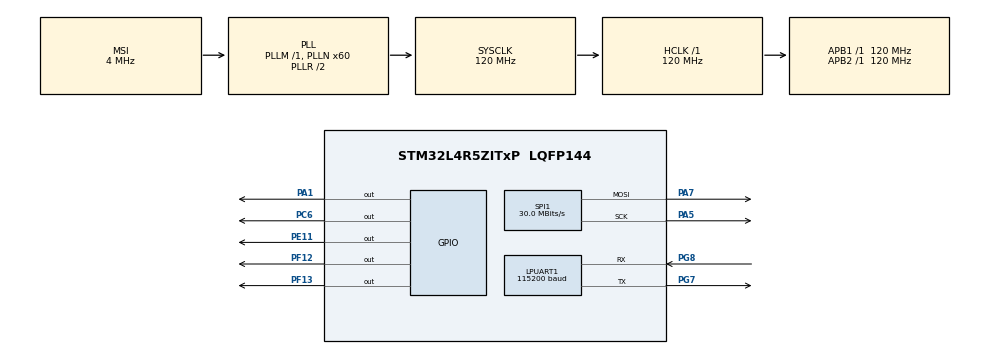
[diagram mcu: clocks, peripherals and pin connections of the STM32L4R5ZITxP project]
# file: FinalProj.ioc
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LPUART1.BaudRate=115200
LPUART1.WordLength=UART_WORDLENGTH_8B
Mcu.Family=STM32L4
Mcu.Name=STM32L4R5ZITxP
Mcu.Package=LQFP144
NVIC.PriorityGroup=NVIC_PRIORITYGROUP_4
PA0.Signal=S_TIM2_CH1
PA1.Signal=GPIO_Output
PA10.Signal=USB_OTG_FS_ID
PA13\ (JTMS/SWDIO).Signal=SYS_JTMS-SWDIO
PA14\ (JTCK/SWCLK).Signal=SYS_JTCK-SWCLK
PA3.Signal=ADCx_IN8
PA4.Signal=SPI1_NSS
PA5.Mode=TX_Only_Simplex_Unidirect_Master
PA5.Signal=SPI1_SCK
PA6.Signal=SPI1_MISO
PA7.Mode=TX_Only_Simplex_Unidirect_Master
PA7.Signal=SPI1_MOSI
PA8.Signal=USB_OTG_FS_SOF
PA9.Signal=USB_OTG_FS_VBUS
PB0.Signal=S_TIM3_CH3
PB1.Signal=ADCx_IN16
PB10.Signal=S_TIM2_CH3
PB12.Signal=SAI2_FS_A
PB13.Signal=SAI2_SCK_A
PB15.Signal=SAI2_SD_A
PB2.Signal=COMP1_INP
PB3\ (JTDO/TRACESWO).Signal=SPI3_SCK
PB4\ (NJTRST).Signal=SPI3_MISO
PB5.Signal=SPI3_MOSI
PB6.Signal=COMP2_INP
PB8.Signal=I2C1_SCL
PB9.Signal=I2C1_SDA
PC0.Signal=ADCx_IN1
PC1.Signal=ADCx_IN2
PC10.Signal=SDMMC1_D2
PC11.Signal=SDMMC1_D3
PC12.Signal=SDMMC1_CK
PC13.Signal=SYS_WKUP2
PC14-OSC32_IN\ (PC14).Signal=RCC_OSC32_IN
PC15-OSC32_OUT\ (PC15).Signal=RCC_OSC32_OUT
PC2.Signal=ADCx_IN3
PC3.Signal=ADCx_IN4
PC4.Signal=ADCx_IN13
PC5.Signal=ADCx_IN14
PC6.GPIO_ModeDefaultOutputPP=GPIO_MODE_OUTPUT_OD
PC6.GPIO_PuPd=GPIO_PULLUP
PC6.GPIO_Speed=GPIO_SPEED_FREQ_MEDIUM
PC6.Signal=GPIO_Output
PC8.Signal=SDMMC1_D0
PC9.Signal=SDMMC1_D1
PD0.Signal=CAN1_RX
PD14.Signal=S_TIM4_CH3
PD15.Signal=S_TIM4_CH4
PD2.Signal=SDMMC1_CMD
PD3.Signal=USART2_CTS
PD4.Signal=USART2_RTS
PD5.Signal=USART2_TX
PD6.Signal=USART2_RX
PD8.Signal=USART3_TX
PD9.Signal=USART3_RX
PE0.Signal=S_TIM4_ETR
PE10.Signal=TIM1_CH2N
PE11.Signal=GPIO_Output
PE12.Signal=TIM1_CH3N
PE13.Signal=S_TIM1_CH3
PE14.Signal=TIM1_BKIN2
PE15.Signal=TIM1_BKIN
PE2.Signal=SAI1_MCLK_A
PE3.Signal=SAI1_SD_B
PE7.Signal=S_TIM1_ETR
PE8.Signal=TIM1_CH1N
PE9.Signal=S_TIM1_CH1
PF0.Signal=I2C2_SDA
PF1.Signal=I2C2_SCL
PF12.Signal=GPIO_Output
PF13.Signal=GPIO_Output
PF2.Signal=I2C2_SMBA
PF7.Signal=SAI1_MCLK_B
PG7.Mode=Asynchronous
PG7.Signal=LPUART1_TX
PG8.Mode=Asynchronous
PG8.Signal=LPUART1_RX
PH0-OSC_IN\ (PH0).Signal=RCC_OSC_IN
PH1-OSC_OUT\ (PH1).Signal=RCC_OSC_OUT
ProjectManager.HeapSize=0x200
ProjectManager.StackSize=0x400
ProjectManager.TargetToolchain=STM32CubeIDE
RCC.AHBFreq_Value=120000000
RCC.APB1Freq_Value=120000000
RCC.APB1TimFreq_Value=120000000
RCC.APB2Freq_Value=120000000
RCC.APB2TimFreq_Value=120000000
RCC.CortexFreq_Value=120000000
RCC.HCLKFreq_Value=120000000
RCC.HSE_VALUE=8000000
RCC.HSI48_VALUE=48000000
RCC.HSI_VALUE=16000000
RCC.LSE_VALUE=32768
RCC.MSI_VALUE=4000000
RCC.PLLN=60
RCC.SYSCLKFreq_VALUE=120000000
RCC.SYSCLKSource=RCC_SYSCLKSOURCE_PLLCLK
RCC.VCOOutputFreq_Value=240000000
SH.ADCx_IN1.0=ADC1_IN1
SH.ADCx_IN13.0=ADC1_IN13
SH.ADCx_IN14.0=ADC1_IN14
SH.ADCx_IN16.0=ADC1_IN16
SH.ADCx_IN2.0=ADC1_IN2
SH.ADCx_IN3.0=ADC1_IN3
SH.ADCx_IN4.0=ADC1_IN4
SH.ADCx_IN8.0=ADC1_IN8
SH.S_TIM1_CH1.0=TIM1_CH1
SH.S_TIM1_CH3.0=TIM1_CH3
SH.S_TIM1_ETR.0=TIM1_ETR
SH.S_TIM2_CH1.0=TIM2_CH1
SH.S_TIM2_CH3.0=TIM2_CH3
SH.S_TIM3_CH3.0=TIM3_CH3
SH.S_TIM4_CH3.0=TIM4_CH3
SH.S_TIM4_CH4.0=TIM4_CH4
SH.S_TIM4_ETR.0=TIM4_ETR
SPI1.BaudRatePrescaler=SPI_BAUDRATEPRESCALER_4
SPI1.CalculateBaudRate=30.0 MBits/s
SPI1.DataSize=SPI_DATASIZE_8BIT
SPI1.Direction=SPI_DIRECTION_2LINES
SPI1.Mode=SPI_MODE_MASTER
SPI1.VirtualType=VM_MASTER
TIM4.Period=0xffff-1
TIM4.Prescaler=19
VP_TIM4_VS_ClockSourceINT.Mode=Internal
board=NUCLEO-L4R5ZI-P

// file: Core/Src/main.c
/* USER CODE BEGIN Header */
/**
  ******************************************************************************
  * @file           : main.c
  * @brief          : Main program body
  ******************************************************************************
  * @attention
  *
  * Copyright (c) 2022 STMicroelectronics.
  * All rights reserved.
  *
  * This software is licensed under terms that can be found in the LICENSE file
  * in the root directory of this software component.
  * If no LICENSE file comes with this software, it is provided AS-IS.
  *
  ******************************************************************************
  */
/* USER CODE END Header */
#include "main.h"

/* USER CODE BEGIN Includes */
#include "hx8357d.h"
#include "n64.h"
#include "stdio.h"
/* USER CODE END Includes */

 UART_HandleTypeDef hlpuart1;

SPI_HandleTypeDef hspi1;

TIM_HandleTypeDef htim4;

/* USER CODE BEGIN PV */
//Chip Select pin
GPIO_TypeDef  *tftCS_GPIO = GPIOE;
uint16_t tftCS_PIN = GPIO_PIN_11;
//Data Command pin
GPIO_TypeDef  *tftDC_GPIO = GPIOF;
uint16_t tftDC_PIN = GPIO_PIN_12;
//Reset pin
GPIO_TypeDef  *tftRESET_GPIO = GPIOF;
uint16_t tftRESET_PIN = GPIO_PIN_13;

/* USER CODE END PV */

void SystemClock_Config(void);
static void MX_GPIO_Init(void);
static void MX_SPI1_Init(void);
static void MX_TIM4_Init(void);
static void MX_LPUART1_UART_Init(void);

int main(void)
{

  /* MCU Configuration--------------------------------------------------------*/

  /* Reset of all peripherals, Initializes the Flash interface and the Systick. */
  HAL_Init();

  /* Configure the system clock */
  SystemClock_Config();

  /* Initialize all configured peripherals */
  MX_GPIO_Init();
  MX_SPI1_Init();
  MX_TIM4_Init();
  MX_LPUART1_UART_Init();
  /* USER CODE BEGIN 2 */

  LCD_init(&hspi1, tftCS_GPIO, tftCS_PIN, tftDC_GPIO, tftDC_PIN, tftRESET_GPIO, tftRESET_PIN);
  N64_init(&htim4);
  //printf("Initing...\n\r"); //printf this gives error
  //HAL_Delay(200);
  LCD_fill(HX8357_WHITE);
  //LCD_rect(50, 250, 190, 300, HX8357_BLACK); //TODO bug! trailing pixels missing by amount of dy
  /* USER CODE END 2 */

  /* Infinite loop */
  /* USER CODE BEGIN WHILE */
  uint32_t vals = 0;
  printf("Starting...\n\r");
  while (1)
  {

	  vals = pollRead();
	  //int buttonval = vals >> 31;
	  signed char xval = (vals >> 8) & 0xff; //both were signed
	  signed char yval = vals & 0xff;
	  printf("X: %d,Y: %d\n\r", xval, yval);

	  uint16_t XCenter = xval + (HX8357_TFTWIDTH/2);
	  uint16_t YCenter = -yval + (HX8357_TFTHEIGHT/2);
	  uint16_t rectRadius = 2;
	  LCD_rect(XCenter - rectRadius, YCenter - rectRadius, XCenter + rectRadius, YCenter + rectRadius, HX8357_BLACK);
	  /*if(yval >50 && xval > 50) {
		  HAL_GPIO_WritePin(GPIOB, GPIO_PIN_14, 1);
	  }
	  else if(yval < -50 && xval > 50) {
		  //fourth quadrant
		  HAL_GPIO_WritePin(GPIOC, GPIO_PIN_7, 1);

	  }
	  else if(yval > 50 && xval < -50) {
		  //second quadrant
		  HAL_GPIO_WritePin(GPIOB, GPIO_PIN_7, 1);

	  }
	  else if(yval < -50 && xval < -50) {
		  //third quadrant
		  HAL_GPIO_WritePin(GPIOC, GPIO_PIN_7, 1);
		  HAL_GPIO_WritePin(GPIOB, GPIO_PIN_7, 1);
		  HAL_GPIO_WritePin(GPIOB, GPIO_PIN_14, 1);
	  }

	  HAL_Delay(10);
	  HAL_GPIO_WritePin(GPIOC, GPIO_PIN_7, 0);
	  HAL_GPIO_WritePin(GPIOB, GPIO_PIN_7, 0);
	  HAL_GPIO_WritePin(GPIOB, GPIO_PIN_14, 0);*/
	  HAL_Delay(50);

    /* USER CODE END WHILE */

  }
}

void SystemClock_Config(void)
{
  RCC_OscInitTypeDef RCC_OscInitStruct = {0};
  RCC_ClkInitTypeDef RCC_ClkInitStruct = {0};

  /** Configure the main internal regulator output voltage
  */
  if (HAL_PWREx_ControlVoltageScaling(PWR_REGULATOR_VOLTAGE_SCALE1_BOOST) != HAL_OK)
  {
    Error_Handler();
  }

  /** Initializes the RCC Oscillators according to the specified parameters
  * in the RCC_OscInitTypeDef structure.
  */
  RCC_OscInitStruct.OscillatorType = RCC_OSCILLATORTYPE_MSI;
  RCC_OscInitStruct.MSIState = RCC_MSI_ON;
  RCC_OscInitStruct.MSICalibrationValue = 0;
  RCC_OscInitStruct.MSIClockRange = RCC_MSIRANGE_6;
  RCC_OscInitStruct.PLL.PLLState = RCC_PLL_ON;
  RCC_OscInitStruct.PLL.PLLSource = RCC_PLLSOURCE_MSI;
  RCC_OscInitStruct.PLL.PLLM = 1;
  RCC_OscInitStruct.PLL.PLLN = 60;
  RCC_OscInitStruct.PLL.PLLP = RCC_PLLP_DIV2;
  RCC_OscInitStruct.PLL.PLLQ = RCC_PLLQ_DIV2;
  RCC_OscInitStruct.PLL.PLLR = RCC_PLLR_DIV2;
  if (HAL_RCC_OscConfig(&RCC_OscInitStruct) != HAL_OK)
  {
    Error_Handler();
  }

  /** Initializes the CPU, AHB and APB buses clocks
  */
  RCC_ClkInitStruct.ClockType = RCC_CLOCKTYPE_HCLK|RCC_CLOCKTYPE_SYSCLK
                              |RCC_CLOCKTYPE_PCLK1|RCC_CLOCKTYPE_PCLK2;
  RCC_ClkInitStruct.SYSCLKSource = RCC_SYSCLKSOURCE_PLLCLK;
  RCC_ClkInitStruct.AHBCLKDivider = RCC_SYSCLK_DIV1;
  RCC_ClkInitStruct.APB1CLKDivider = RCC_HCLK_DIV1;
  RCC_ClkInitStruct.APB2CLKDivider = RCC_HCLK_DIV1;

  if (HAL_RCC_ClockConfig(&RCC_ClkInitStruct, FLASH_LATENCY_5) != HAL_OK)
  {
    Error_Handler();
  }
}

static void MX_LPUART1_UART_Init(void)
{

  hlpuart1.Instance = LPUART1;
  hlpuart1.Init.BaudRate = 115200;
  hlpuart1.Init.WordLength = UART_WORDLENGTH_8B;
  hlpuart1.Init.StopBits = UART_STOPBITS_1;
  hlpuart1.Init.Parity = UART_PARITY_NONE;
  hlpuart1.Init.Mode = UART_MODE_TX_RX;
  hlpuart1.Init.HwFlowCtl = UART_HWCONTROL_NONE;
  hlpuart1.Init.OneBitSampling = UART_ONE_BIT_SAMPLE_DISABLE;
  hlpuart1.Init.ClockPrescaler = UART_PRESCALER_DIV1;
  hlpuart1.AdvancedInit.AdvFeatureInit = UART_ADVFEATURE_NO_INIT;
  hlpuart1.FifoMode = UART_FIFOMODE_DISABLE;
  if (HAL_UART_Init(&hlpuart1) != HAL_OK)
  {
    Error_Handler();
  }
  if (HAL_UARTEx_SetTxFifoThreshold(&hlpuart1, UART_TXFIFO_THRESHOLD_1_8) != HAL_OK)
  {
    Error_Handler();
  }
  if (HAL_UARTEx_SetRxFifoThreshold(&hlpuart1, UART_RXFIFO_THRESHOLD_1_8) != HAL_OK)
  {
    Error_Handler();
  }
  if (HAL_UARTEx_DisableFifoMode(&hlpuart1) != HAL_OK)
  {
    Error_Handler();
  }

}

static void MX_SPI1_Init(void)
{

  /* SPI1 parameter configuration*/
  hspi1.Instance = SPI1;
  hspi1.Init.Mode = SPI_MODE_MASTER;
  hspi1.Init.Direction = SPI_DIRECTION_2LINES;
  hspi1.Init.DataSize = SPI_DATASIZE_8BIT;
  hspi1.Init.CLKPolarity = SPI_POLARITY_LOW;
  hspi1.Init.CLKPhase = SPI_PHASE_1EDGE;
  hspi1.Init.NSS = SPI_NSS_SOFT;
  hspi1.Init.BaudRatePrescaler = SPI_BAUDRATEPRESCALER_4;
  hspi1.Init.FirstBit = SPI_FIRSTBIT_MSB;
  hspi1.Init.TIMode = SPI_TIMODE_DISABLE;
  hspi1.Init.CRCCalculation = SPI_CRCCALCULATION_DISABLE;
  hspi1.Init.CRCPolynomial = 7;
  hspi1.Init.CRCLength = SPI_CRC_LENGTH_DATASIZE;
  hspi1.Init.NSSPMode = SPI_NSS_PULSE_ENABLE;
  if (HAL_SPI_Init(&hspi1) != HAL_OK)
  {
    Error_Handler();
  }

}

static void MX_TIM4_Init(void)
{

  TIM_ClockConfigTypeDef sClockSourceConfig = {0};
  TIM_MasterConfigTypeDef sMasterConfig = {0};

  htim4.Instance = TIM4;
  htim4.Init.Prescaler = 19;
  htim4.Init.CounterMode = TIM_COUNTERMODE_UP;
  htim4.Init.Period = 0xffff-1;
  htim4.Init.ClockDivision = TIM_CLOCKDIVISION_DIV1;
  htim4.Init.AutoReloadPreload = TIM_AUTORELOAD_PRELOAD_DISABLE;
  if (HAL_TIM_Base_Init(&htim4) != HAL_OK)
  {
    Error_Handler();
  }
  sClockSourceConfig.ClockSource = TIM_CLOCKSOURCE_INTERNAL;
  if (HAL_TIM_ConfigClockSource(&htim4, &sClockSourceConfig) != HAL_OK)
  {
    Error_Handler();
  }
  sMasterConfig.MasterOutputTrigger = TIM_TRGO_RESET;
  sMasterConfig.MasterSlaveMode = TIM_MASTERSLAVEMODE_DISABLE;
  if (HAL_TIMEx_MasterConfigSynchronization(&htim4, &sMasterConfig) != HAL_OK)
  {
    Error_Handler();
  }

}

static void MX_GPIO_Init(void)
{
  GPIO_InitTypeDef GPIO_InitStruct = {0};

  /* GPIO Ports Clock Enable */
  __HAL_RCC_GPIOE_CLK_ENABLE();
  __HAL_RCC_GPIOC_CLK_ENABLE();
  __HAL_RCC_GPIOF_CLK_ENABLE();
  __HAL_RCC_GPIOH_CLK_ENABLE();
  __HAL_RCC_GPIOA_CLK_ENABLE();
  __HAL_RCC_GPIOB_CLK_ENABLE();
  __HAL_RCC_GPIOD_CLK_ENABLE();
  __HAL_RCC_GPIOG_CLK_ENABLE();
  HAL_PWREx_EnableVddIO2();

  /*Configure GPIO pin Output Level */
  HAL_GPIO_WritePin(GPIOA, GPIO_PIN_1, GPIO_PIN_RESET);

  /*Configure GPIO pin Output Level */
  HAL_GPIO_WritePin(GPIOF, GPIO_PIN_12|GPIO_PIN_13, GPIO_PIN_RESET);

  /*Configure GPIO pin Output Level */
  HAL_GPIO_WritePin(GPIOE, GPIO_PIN_11, GPIO_PIN_RESET);

  /*Configure GPIO pin Output Level */
  HAL_GPIO_WritePin(GPIOC, GPIO_PIN_6, GPIO_PIN_RESET);

  /*Configure GPIO pins : PE2 PE3 */
  GPIO_InitStruct.Pin = GPIO_PIN_2|GPIO_PIN_3;
  GPIO_InitStruct.Mode = GPIO_MODE_AF_PP;
  GPIO_InitStruct.Pull = GPIO_NOPULL;
  GPIO_InitStruct.Speed = GPIO_SPEED_FREQ_LOW;
  GPIO_InitStruct.Alternate = GPIO_AF13_SAI1;
  HAL_GPIO_Init(GPIOE, &GPIO_InitStruct);

  /*Configure GPIO pins : PF0 PF1 PF2 */
  GPIO_InitStruct.Pin = GPIO_PIN_0|GPIO_PIN_1|GPIO_PIN_2;
  GPIO_InitStruct.Mode = GPIO_MODE_AF_OD;
  GPIO_InitStruct.Pull = GPIO_NOPULL;
  GPIO_InitStruct.Speed = GPIO_SPEED_FREQ_VERY_HIGH;
  GPIO_InitStruct.Alternate = GPIO_AF4_I2C2;
  HAL_GPIO_Init(GPIOF, &GPIO_InitStruct);

  /*Configure GPIO pin : PF7 */
  GPIO_InitStruct.Pin = GPIO_PIN_7;
  GPIO_InitStruct.Mode = GPIO_MODE_AF_PP;
  GPIO_InitStruct.Pull = GPIO_NOPULL;
  GPIO_InitStruct.Speed = GPIO_SPEED_FREQ_LOW;
  GPIO_InitStruct.Alternate = GPIO_AF13_SAI1;
  HAL_GPIO_Init(GPIOF, &GPIO_InitStruct);

  /*Configure GPIO pins : PC0 PC1 PC2 PC3
                           PC4 PC5 */
  GPIO_InitStruct.Pin = GPIO_PIN_0|GPIO_PIN_1|GPIO_PIN_2|GPIO_PIN_3
                          |GPIO_PIN_4|GPIO_PIN_5;
  GPIO_InitStruct.Mode = GPIO_MODE_ANALOG_ADC_CONTROL;
  GPIO_InitStruct.Pull = GPIO_NOPULL;
  HAL_GPIO_Init(GPIOC, &GPIO_InitStruct);

  /*Configure GPIO pin : PA0 */
  GPIO_InitStruct.Pin = GPIO_PIN_0;
  GPIO_InitStruct.Mode = GPIO_MODE_AF_PP;
  GPIO_InitStruct.Pull = GPIO_NOPULL;
  GPIO_InitStruct.Speed = GPIO_SPEED_FREQ_LOW;
  GPIO_InitStruct.Alternate = GPIO_AF1_TIM2;
  HAL_GPIO_Init(GPIOA, &GPIO_InitStruct);

  /*Configure GPIO pin : PA1 */
  GPIO_InitStruct.Pin = GPIO_PIN_1;
  GPIO_InitStruct.Mode = GPIO_MODE_OUTPUT_PP;
  GPIO_InitStruct.Pull = GPIO_NOPULL;
  GPIO_InitStruct.Speed = GPIO_SPEED_FREQ_LOW;
  HAL_GPIO_Init(GPIOA, &GPIO_InitStruct);

  /*Configure GPIO pin : PA3 */
  GPIO_InitStruct.Pin = GPIO_PIN_3;
  GPIO_InitStruct.Mode = GPIO_MODE_ANALOG_ADC_CONTROL;
  GPIO_InitStruct.Pull = GPIO_NOPULL;
  HAL_GPIO_Init(GPIOA, &GPIO_InitStruct);

  /*Configure GPIO pin : PB0 */
  GPIO_InitStruct.Pin = GPIO_PIN_0;
  GPIO_InitStruct.Mode = GPIO_MODE_AF_PP;
  GPIO_InitStruct.Pull = GPIO_NOPULL;
  GPIO_InitStruct.Speed = GPIO_SPEED_FREQ_LOW;
  GPIO_InitStruct.Alternate = GPIO_AF2_TIM3;
  HAL_GPIO_Init(GPIOB, &GPIO_InitStruct);

  /*Configure GPIO pin : PB1 */
  GPIO_InitStruct.Pin = GPIO_PIN_1;
  GPIO_InitStruct.Mode = GPIO_MODE_ANALOG_ADC_CONTROL;
  GPIO_InitStruct.Pull = GPIO_NOPULL;
  HAL_GPIO_Init(GPIOB, &GPIO_InitStruct);

  /*Configure GPIO pins : PB2 PB6 */
  GPIO_InitStruct.Pin = GPIO_PIN_2|GPIO_PIN_6;
  GPIO_InitStruct.Mode = GPIO_MODE_ANALOG;
  GPIO_InitStruct.Pull = GPIO_NOPULL;
  HAL_GPIO_Init(GPIOB, &GPIO_InitStruct);

  /*Configure GPIO pins : PF12 PF13 */
  GPIO_InitStruct.Pin = GPIO_PIN_12|GPIO_PIN_13;
  GPIO_InitStruct.Mode = GPIO_MODE_OUTPUT_PP;
  GPIO_InitStruct.Pull = GPIO_NOPULL;
  GPIO_InitStruct.Speed = GPIO_SPEED_FREQ_LOW;
  HAL_GPIO_Init(GPIOF, &GPIO_InitStruct);

  /*Configure GPIO pins : PE7 PE8 PE9 PE10
                           PE12 PE13 */
  GPIO_InitStruct.Pin = GPIO_PIN_7|GPIO_PIN_8|GPIO_PIN_9|GPIO_PIN_10
                          |GPIO_PIN_12|GPIO_PIN_13;
  GPIO_InitStruct.Mode = GPIO_MODE_AF_PP;
  GPIO_InitStruct.Pull = GPIO_NOPULL;
  GPIO_InitStruct.Speed = GPIO_SPEED_FREQ_LOW;
  GPIO_InitStruct.Alternate = GPIO_AF1_TIM1;
  HAL_GPIO_Init(GPIOE, &GPIO_InitStruct);

  /*Configure GPIO pin : PE11 */
  GPIO_InitStruct.Pin = GPIO_PIN_11;
  GPIO_InitStruct.Mode = GPIO_MODE_OUTPUT_PP;
  GPIO_InitStruct.Pull = GPIO_NOPULL;
  GPIO_InitStruct.Speed = GPIO_SPEED_FREQ_LOW;
  HAL_GPIO_Init(GPIOE, &GPIO_InitStruct);

  /*Configure GPIO pins : PE14 PE15 */
  GPIO_InitStruct.Pin = GPIO_PIN_14|GPIO_PIN_15;
  GPIO_InitStruct.Mode = GPIO_MODE_AF_PP;
  GPIO_InitStruct.Pull = GPIO_NOPULL;
  GPIO_InitStruct.Speed = GPIO_SPEED_FREQ_LOW;
  GPIO_InitStruct.Alternate = GPIO_AF3_TIM1_COMP1;
  HAL_GPIO_Init(GPIOE, &GPIO_InitStruct);

  /*Configure GPIO pin : PB10 */
  GPIO_InitStruct.Pin = GPIO_PIN_10;
  GPIO_InitStruct.Mode = GPIO_MODE_AF_PP;
  GPIO_InitStruct.Pull = GPIO_NOPULL;
  GPIO_InitStruct.Speed = GPIO_SPEED_FREQ_LOW;
  GPIO_InitStruct.Alternate = GPIO_AF1_TIM2;
  HAL_GPIO_Init(GPIOB, &GPIO_InitStruct);

  /*Configure GPIO pins : PB12 PB13 PB15 */
  GPIO_InitStruct.Pin = GPIO_PIN_12|GPIO_PIN_13|GPIO_PIN_15;
  GPIO_InitStruct.Mode = GPIO_MODE_AF_PP;
  GPIO_InitStruct.Pull = GPIO_NOPULL;
  GPIO_InitStruct.Speed = GPIO_SPEED_FREQ_LOW;
  GPIO_InitStruct.Alternate = GPIO_AF13_SAI2;
  HAL_GPIO_Init(GPIOB, &GPIO_InitStruct);

  /*Configure GPIO pins : PD8 PD9 */
  GPIO_InitStruct.Pin = GPIO_PIN_8|GPIO_PIN_9;
  GPIO_InitStruct.Mode = GPIO_MODE_AF_PP;
  GPIO_InitStruct.Pull = GPIO_NOPULL;
  GPIO_InitStruct.Speed = GPIO_SPEED_FREQ_VERY_HIGH;
  GPIO_InitStruct.Alternate = GPIO_AF7_USART3;
  HAL_GPIO_Init(GPIOD, &GPIO_InitStruct);

  /*Configure GPIO pin : PC6 */
  GPIO_InitStruct.Pin = GPIO_PIN_6;
  GPIO_InitStruct.Mode = GPIO_MODE_OUTPUT_OD;
  GPIO_InitStruct.Pull = GPIO_PULLUP;
  GPIO_InitStruct.Speed = GPIO_SPEED_FREQ_MEDIUM;
  HAL_GPIO_Init(GPIOC, &GPIO_InitStruct);

  /*Configure GPIO pins : PC8 PC9 PC10 PC11
                           PC12 */
  GPIO_InitStruct.Pin = GPIO_PIN_8|GPIO_PIN_9|GPIO_PIN_10|GPIO_PIN_11
                          |GPIO_PIN_12;
  GPIO_InitStruct.Mode = GPIO_MODE_AF_PP;
  GPIO_InitStruct.Pull = GPIO_NOPULL;
  GPIO_InitStruct.Speed = GPIO_SPEED_FREQ_VERY_HIGH;
  GPIO_InitStruct.Alternate = GPIO_AF12_SDMMC1;
  HAL_GPIO_Init(GPIOC, &GPIO_InitStruct);

  /*Configure GPIO pins : PA8 PA10 */
  GPIO_InitStruct.Pin = GPIO_PIN_8|GPIO_PIN_10;
  GPIO_InitStruct.Mode = GPIO_MODE_AF_PP;
  GPIO_InitStruct.Pull = GPIO_NOPULL;
  GPIO_InitStruct.Speed = GPIO_SPEED_FREQ_VERY_HIGH;
  GPIO_InitStruct.Alternate = GPIO_AF10_OTG_FS;
  HAL_GPIO_Init(GPIOA, &GPIO_InitStruct);

  /*Configure GPIO pin : PA9 */
  GPIO_InitStruct.Pin = GPIO_PIN_9;
  GPIO_InitStruct.Mode = GPIO_MODE_INPUT;
  GPIO_InitStruct.Pull = GPIO_NOPULL;
  HAL_GPIO_Init(GPIOA, &GPIO_InitStruct);

  /*Configure GPIO pin : PD0 */
  GPIO_InitStruct.Pin = GPIO_PIN_0;
  GPIO_InitStruct.Mode = GPIO_MODE_AF_PP;
  GPIO_InitStruct.Pull = GPIO_NOPULL;
  GPIO_InitStruct.Speed = GPIO_SPEED_FREQ_VERY_HIGH;
  GPIO_InitStruct.Alternate = GPIO_AF9_CAN1;
  HAL_GPIO_Init(GPIOD, &GPIO_InitStruct);

  /*Configure GPIO pin : PD2 */
  GPIO_InitStruct.Pin = GPIO_PIN_2;
  GPIO_InitStruct.Mode = GPIO_MODE_AF_PP;
  GPIO_InitStruct.Pull = GPIO_NOPULL;
  GPIO_InitStruct.Speed = GPIO_SPEED_FREQ_VERY_HIGH;
  GPIO_InitStruct.Alternate = GPIO_AF12_SDMMC1;
  HAL_GPIO_Init(GPIOD, &GPIO_InitStruct);

  /*Configure GPIO pins : PD3 PD4 PD5 PD6 */
  GPIO_InitStruct.Pin = GPIO_PIN_3|GPIO_PIN_4|GPIO_PIN_5|GPIO_PIN_6;
  GPIO_InitStruct.Mode = GPIO_MODE_AF_PP;
  GPIO_InitStruct.Pull = GPIO_NOPULL;
  GPIO_InitStruct.Speed = GPIO_SPEED_FREQ_VERY_HIGH;
  GPIO_InitStruct.Alternate = GPIO_AF7_USART2;
  HAL_GPIO_Init(GPIOD, &GPIO_InitStruct);

  /*Configure GPIO pins : PB3 PB4 PB5 */
  GPIO_InitStruct.Pin = GPIO_PIN_3|GPIO_PIN_4|GPIO_PIN_5;
  GPIO_InitStruct.Mode = GPIO_MODE_AF_PP;
  GPIO_InitStruct.Pull = GPIO_NOPULL;
  GPIO_InitStruct.Speed = GPIO_SPEED_FREQ_VERY_HIGH;
  GPIO_InitStruct.Alternate = GPIO_AF6_SPI3;
  HAL_GPIO_Init(GPIOB, &GPIO_InitStruct);

  /*Configure GPIO pins : PB8 PB9 */
  GPIO_InitStruct.Pin = GPIO_PIN_8|GPIO_PIN_9;
  GPIO_InitStruct.Mode = GPIO_MODE_AF_OD;
  GPIO_InitStruct.Pull = GPIO_NOPULL;
  GPIO_InitStruct.Speed = GPIO_SPEED_FREQ_VERY_HIGH;
  GPIO_InitStruct.Alternate = GPIO_AF4_I2C1;
  HAL_GPIO_Init(GPIOB, &GPIO_InitStruct);

}

/* USER CODE BEGIN 4 */
#ifdef __GNUC__
#define PUTCHAR_PROTOTYPE int __io_putchar(int ch)
#else
  #define PUTCHAR_PROTOTYPE int fputc(int ch, FILE *f)
#endif /* __GNUC__ */
PUTCHAR_PROTOTYPE
{
  HAL_UART_Transmit(&hlpuart1, (uint8_t *)&ch, 1, 0xFFFF);
  return ch;
}

/* USER CODE END 4 */

void Error_Handler(void)
{
  __disable_irq();
  while (1)
  {
  }
}
